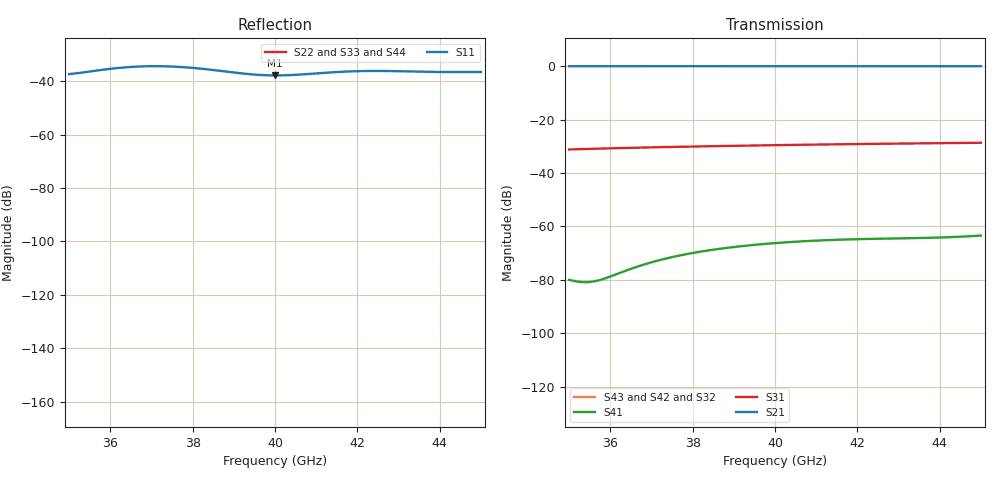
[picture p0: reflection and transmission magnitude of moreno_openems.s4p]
! Moreno cross-guide coupler, openEMS FDTD
! only column 1 (port 1 excited) and, by reciprocity, row 1 are simulated; other entries are zero
# GHz S MA R 50
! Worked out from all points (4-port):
!   201 points, 35 GHz to 45 GHz, reference 50 ohm
!   strongest paths, dB at 35 GHz, 37.5 GHz, 40 GHz, 42.5 GHz, 45 GHz:
!     S21: 0.0, 0.0, 0.0, 0.0, 0.0
!     S31: -31.2, -30.2, -29.6, -29.1, -28.7
!     S41: -80.0, -71.5, -66.3, -64.6, -63.4
!     S43: -, -, -, -, -
!     S42: -, -, -, -, -
!     S32: -, -, -, -, -
!   lowest |S11| = -37.9 dB at 40 GHz (marker M1), VSWR 1.03, Z = 51.2 + j0.348 ohm
!   |S11| at or under -10 dB: start of sweep to end of sweep
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35  0.01355 -144.1  0.9988 -159.9  0.02758 110.0  9.989e-05 -83.7
    0.9988 -159.9  0 0.0  0 0.0  0 0.0
    0.02758 110.0  0 0.0  0 0.0  0 0.0
    9.989e-05 -83.7  0 0.0  0 0.0  0 0.0
35.8  0.01629 -112.4  1 -168.3  0.02871 101.7  0.0001019 -158.0
      1 -168.3  0 0.0  0 0.0  0 0.0
      0.02871 101.7  0 0.0  0 0.0  0 0.0
      0.0001019 -158.0  0 0.0  0 0.0  0 0.0
37.15  0.01907 -78.0  1 178.1  0.03038 88.1  0.0002287 133.5
       1 178.1  0 0.0  0 0.0  0 0.0
       0.03038 88.1  0 0.0  0 0.0  0 0.0
       0.0002287 133.5  0 0.0  0 0.0  0 0.0
38.4  0.01649 -46.7  0.9993 165.9  0.0317 75.9  0.000357 101.5
      0.9993 165.9  0 0.0  0 0.0  0 0.0
      0.0317 75.9  0 0.0  0 0.0  0 0.0
      0.000357 101.5  0 0.0  0 0.0  0 0.0
40  0.0128 15.4  0.9992 150.8  0.03321 60.8  0.0004867 71.2
    0.9992 150.8  0 0.0  0 0.0  0 0.0
    0.03321 60.8  0 0.0  0 0.0  0 0.0
    0.0004867 71.2  0 0.0  0 0.0  0 0.0
42.6  0.01553 103.6  0.9998 126.9  0.03529 36.9  0.0005893 34.7
      0.9998 126.9  0 0.0  0 0.0  0 0.0
      0.03529 36.9  0 0.0  0 0.0  0 0.0
      0.0005893 34.7  0 0.0  0 0.0  0 0.0
45  0.01482 178.9  0.9979 105.7  0.03684 15.6  0.0006733 13.4
    0.9979 105.7  0 0.0  0 0.0  0 0.0
    0.03684 15.6  0 0.0  0 0.0  0 0.0
    0.0006733 13.4  0 0.0  0 0.0  0 0.0
